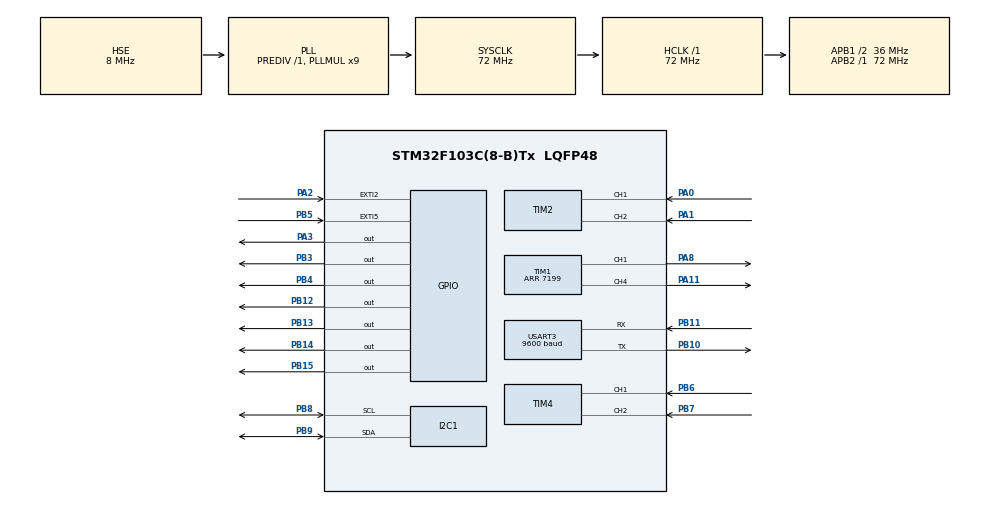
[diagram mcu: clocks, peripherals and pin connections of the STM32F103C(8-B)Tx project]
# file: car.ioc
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Mcu.Family=STM32F1
Mcu.Name=STM32F103C(8-B)Tx
Mcu.Package=LQFP48
NVIC.EXTI2_IRQn=true\:0\:0\:false\:false\:true\:true\:true\:true
NVIC.EXTI9_5_IRQn=true\:0\:0\:false\:false\:true\:true\:true\:true
NVIC.PriorityGroup=NVIC_PRIORITYGROUP_4
NVIC.USART3_IRQn=true\:0\:0\:false\:false\:true\:true\:true\:true
PA0-WKUP.Signal=S_TIM2_CH1_ETR
PA1.Signal=S_TIM2_CH2
PA11.Signal=S_TIM1_CH4
PA13.Mode=Serial_Wire
PA13.Signal=SYS_JTMS-SWDIO
PA14.Mode=Serial_Wire
PA14.Signal=SYS_JTCK-SWCLK
PA2.GPIO_ModeDefaultEXTI=GPIO_MODE_IT_RISING_FALLING
PA2.Signal=GPXTI2
PA3.GPIO_Speed=GPIO_SPEED_FREQ_HIGH
PA3.Signal=GPIO_Output
PA8.Signal=S_TIM1_CH1
PB10.Mode=Asynchronous
PB10.Signal=USART3_TX
PB11.Mode=Asynchronous
PB11.Signal=USART3_RX
PB12.Signal=GPIO_Output
PB13.Signal=GPIO_Output
PB14.Signal=GPIO_Output
PB15.Signal=GPIO_Output
PB3.Signal=GPIO_Output
PB4.Signal=GPIO_Output
PB5.GPIO_ModeDefaultEXTI=GPIO_MODE_IT_FALLING
PB5.GPIO_PuPd=GPIO_PULLUP
PB5.Signal=GPXTI5
PB6.Signal=S_TIM4_CH1
PB7.Signal=S_TIM4_CH2
PB8.Mode=I2C
PB8.Signal=I2C1_SCL
PB9.Mode=I2C
PB9.Signal=I2C1_SDA
PC14-OSC32_IN.Mode=LSE-External-Oscillator
PC14-OSC32_IN.Signal=RCC_OSC32_IN
PC15-OSC32_OUT.Mode=LSE-External-Oscillator
PC15-OSC32_OUT.Signal=RCC_OSC32_OUT
PD0-OSC_IN.Mode=HSE-External-Oscillator
PD0-OSC_IN.Signal=RCC_OSC_IN
PD1-OSC_OUT.Mode=HSE-External-Oscillator
PD1-OSC_OUT.Signal=RCC_OSC_OUT
ProjectManager.HeapSize=0x200
ProjectManager.StackSize=0x400
ProjectManager.TargetToolchain=MDK-ARM V5.32
RCC.AHBFreq_Value=72000000
RCC.APB1CLKDivider=RCC_HCLK_DIV2
RCC.APB1Freq_Value=36000000
RCC.APB1TimFreq_Value=72000000
RCC.APB2Freq_Value=72000000
RCC.APB2TimFreq_Value=72000000
RCC.HCLKFreq_Value=72000000
RCC.PLLMUL=RCC_PLL_MUL9
RCC.PLLSourceVirtual=RCC_PLLSOURCE_HSE
RCC.SYSCLKFreq_VALUE=72000000
RCC.SYSCLKSource=RCC_SYSCLKSOURCE_PLLCLK
RCC.USBFreq_Value=72000000
SH.S_TIM1_CH1.0=TIM1_CH1,PWM Generation1 CH1
SH.S_TIM1_CH4.0=TIM1_CH4,PWM Generation4 CH4
SH.S_TIM2_CH1_ETR.0=TIM2_CH1,Encoder_Interface
SH.S_TIM2_CH2.0=TIM2_CH2,Encoder_Interface
SH.S_TIM4_CH1.0=TIM4_CH1,Encoder_Interface
SH.S_TIM4_CH2.0=TIM4_CH2,Encoder_Interface
TIM1.Channel-PWM\ Generation1\ CH1=TIM_CHANNEL_1
TIM1.Channel-PWM\ Generation4\ CH4=TIM_CHANNEL_4
TIM1.Period=7199
TIM1.Pulse-PWM\ Generation1\ CH1=7200
TIM1.Pulse-PWM\ Generation4\ CH4=7200
TIM2.EncoderMode=TIM_ENCODERMODE_TI12
TIM3.Prescaler=71
TIM4.EncoderMode=TIM_ENCODERMODE_TI12
USART3.BaudRate=9600
USART3.VirtualMode=VM_ASYNC
VP_TIM3_VS_ClockSourceINT.Mode=Internal
board=custom

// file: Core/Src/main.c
/* USER CODE BEGIN Header */
/**
  ******************************************************************************
  * @file           : main.c
  * @brief          : Main program body
  ******************************************************************************
  * @attention
  *
  * Copyright (c) 2026 STMicroelectronics.
  * All rights reserved.
  *
  * This software is licensed under terms that can be found in the LICENSE file
  * in the root directory of this software component.
  * If no LICENSE file comes with this software, it is provided AS-IS.
  *
  ******************************************************************************
  */
/* USER CODE END Header */
#include "main.h"
#include "i2c.h"
#include "tim.h"
#include "usart.h"
#include "gpio.h"

/* USER CODE BEGIN Includes */
#include "oled.h"
#include "IIC.h"
#include "inv_mpu.h"
#include "inv_mpu_dmp_motion_driver.h"
#include "mpu6050.h"
#include "stdio.h"
#include "sr04.h"
#include "motor.h"
#include "encoder.h"
/* USER CODE END Includes */

/* USER CODE BEGIN PV */
extern int Encoder_left,Encoder_right;
extern float pitch,roll,yaw;
uint8_t display_buf[20];
extern float distance;
uint32_t sys_tick;
extern uint8_t rx_buf[2];
/* USER CODE END PV */

void SystemClock_Config(void);
/* USER CODE BEGIN PFP */
void Read(void);
/* USER CODE END PFP */

int main(void)
{

  /* MCU Configuration--------------------------------------------------------*/

  /* Reset of all peripherals, Initializes the Flash interface and the Systick. */
  HAL_Init();

  /* Configure the system clock */
  SystemClock_Config();

  /* Initialize all configured peripherals */
  MX_GPIO_Init();
  MX_I2C1_Init();
  MX_TIM3_Init();
  MX_TIM1_Init();
  MX_TIM2_Init();
  MX_TIM4_Init();
  MX_USART3_UART_Init();
  /* USER CODE BEGIN 2 */
	OLED_Init();
	OLED_Clear();
	MPU_Init();
	mpu_dmp_init();
	OLED_ShowString(0,0,"Init success",16);//横坐标1->一个像素点，y则是8个
	//初始化完成后在开启中断PB5来执行Control
	HAL_NVIC_SetPriority(EXTI9_5_IRQn, 0, 0);
  HAL_NVIC_EnableIRQ(EXTI9_5_IRQn);

	HAL_TIM_PWM_Start(&htim1,TIM_CHANNEL_1);
	HAL_TIM_PWM_Start(&htim1,TIM_CHANNEL_4);

	HAL_TIM_Encoder_Start(&htim2,TIM_CHANNEL_ALL);
	HAL_TIM_Encoder_Start(&htim4,TIM_CHANNEL_ALL);
	//串口中断3开启接收（蓝牙）
	HAL_UART_Receive_IT(&huart3,rx_buf,1);
	Load(0,0);
	OLED_Clear();
  /* USER CODE END 2 */

  /* Infinite loop */
  /* USER CODE BEGIN WHILE */
  while (1)
  {
		sprintf((char *)display_buf,"Encoder_l:%d",Encoder_left);
		OLED_ShowString(0,0,display_buf,16);
		sprintf((char *)display_buf,"Encoder_r:%d",Encoder_right);
		OLED_ShowString(0,2,display_buf,16);
//		sprintf((char *)display_buf,"pitch:%.2f",pitch);
//		OLED_ShowString(0,0,display_buf,16);
//		sprintf((char *)display_buf,"yaw:%.2f",yaw);
//		OLED_ShowString(0,2,display_buf,16);

		sprintf((char *)display_buf,"roll:%.2f   ",roll);
		OLED_ShowString(0,4,display_buf,16);
		Get_Distancs();
		sprintf((char *)display_buf,"distance:%.2f   ",distance);
		OLED_ShowString(0,6,display_buf,12);
    /* USER CODE END WHILE */

  }
}

void SystemClock_Config(void)
{
  RCC_OscInitTypeDef RCC_OscInitStruct = {0};
  RCC_ClkInitTypeDef RCC_ClkInitStruct = {0};

  /** Initializes the RCC Oscillators according to the specified parameters
  * in the RCC_OscInitTypeDef structure.
  */
  RCC_OscInitStruct.OscillatorType = RCC_OSCILLATORTYPE_HSE;
  RCC_OscInitStruct.HSEState = RCC_HSE_ON;
  RCC_OscInitStruct.HSEPredivValue = RCC_HSE_PREDIV_DIV1;
  RCC_OscInitStruct.HSIState = RCC_HSI_ON;
  RCC_OscInitStruct.PLL.PLLState = RCC_PLL_ON;
  RCC_OscInitStruct.PLL.PLLSource = RCC_PLLSOURCE_HSE;
  RCC_OscInitStruct.PLL.PLLMUL = RCC_PLL_MUL9;
  if (HAL_RCC_OscConfig(&RCC_OscInitStruct) != HAL_OK)
  {
    Error_Handler();
  }

  /** Initializes the CPU, AHB and APB buses clocks
  */
  RCC_ClkInitStruct.ClockType = RCC_CLOCKTYPE_HCLK|RCC_CLOCKTYPE_SYSCLK
                              |RCC_CLOCKTYPE_PCLK1|RCC_CLOCKTYPE_PCLK2;
  RCC_ClkInitStruct.SYSCLKSource = RCC_SYSCLKSOURCE_PLLCLK;
  RCC_ClkInitStruct.AHBCLKDivider = RCC_SYSCLK_DIV1;
  RCC_ClkInitStruct.APB1CLKDivider = RCC_HCLK_DIV2;
  RCC_ClkInitStruct.APB2CLKDivider = RCC_HCLK_DIV1;

  if (HAL_RCC_ClockConfig(&RCC_ClkInitStruct, FLASH_LATENCY_2) != HAL_OK)
  {
    Error_Handler();
  }
}

/* USER CODE BEGIN 4 */
void Read(void)  //每10ms执行1次
{
	if(uwTick-sys_tick<10)
		return;
	sys_tick = uwTick;
	Encoder_left = Read_Speed(&htim2);
	Encoder_right = -Read_Speed(&htim4);
}
/* USER CODE END 4 */

void Error_Handler(void)
{
  __disable_irq();
  while (1)
  {
  }
}
